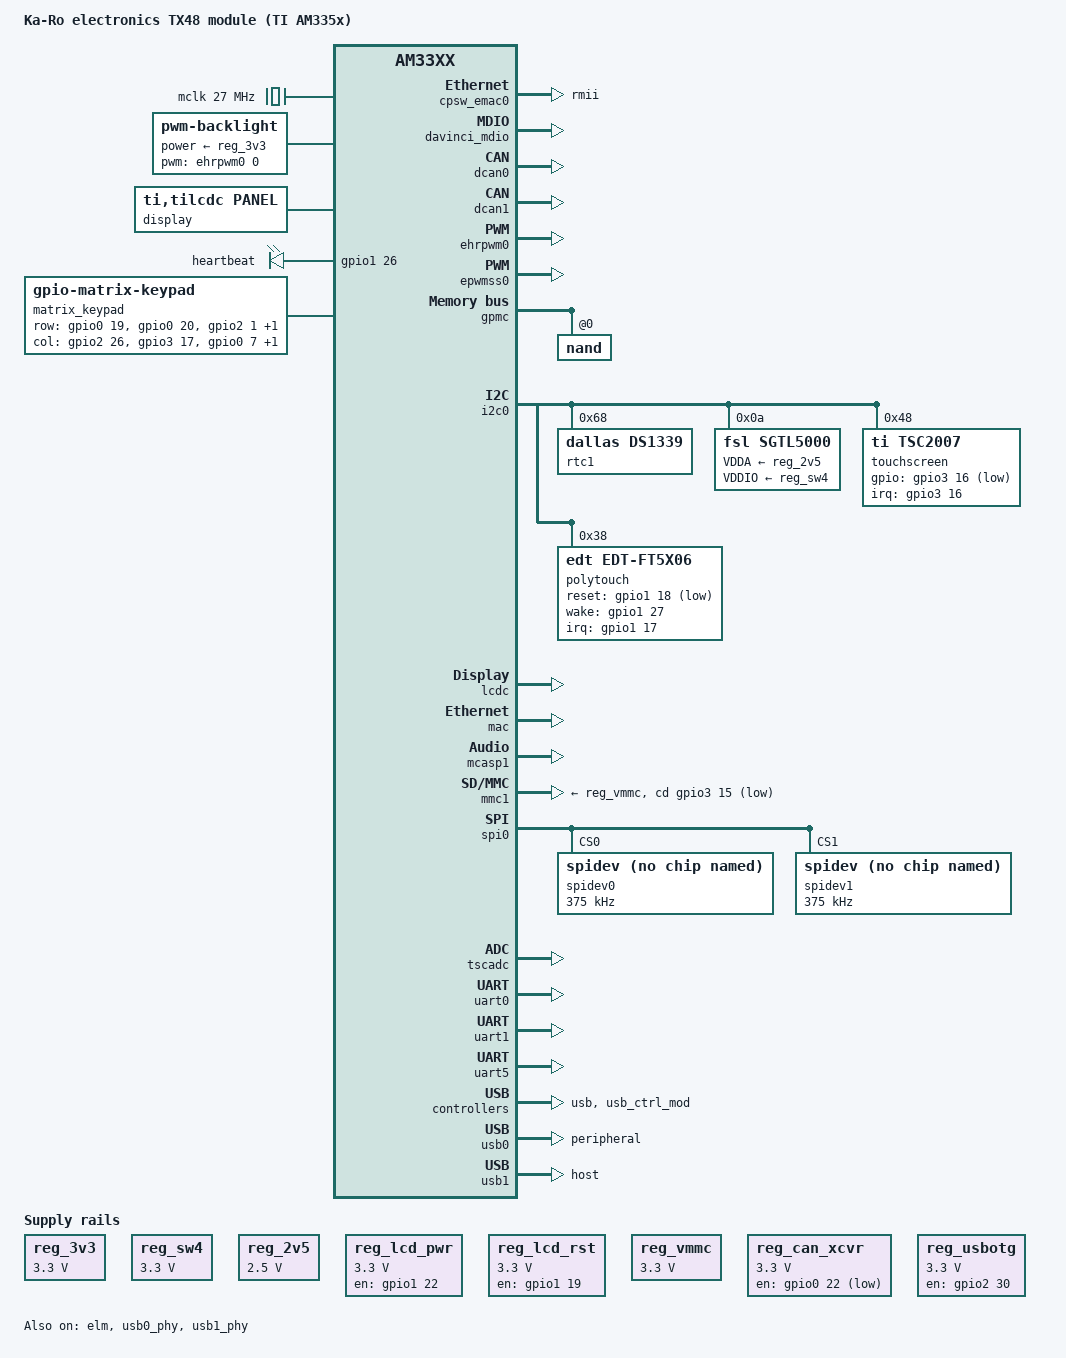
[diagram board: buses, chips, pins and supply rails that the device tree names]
/*
 * Copyright (C) 2013 Ka-Ro electronics GmbH - http://www.karo-electronics.com
 *
 * This program is free software; you can redistribute it and/or modify
 * it under the terms of the GNU General Public License version 2 as
 * published by the Free Software Foundation.
 */
/dts-v1/;

#include "am33xx.dtsi"
#include <dt-bindings/pwm/pwm.h>

/ {
	model = "Ka-Ro electronics TX48 module (TI AM335x)";
	compatible = "karo,am335x-tx48", "ti,am33xx";

	aliases {
		can0 = &dcan0;
		can1 = &dcan1;
		display = &display;
		lcdif_23bit_pins_a = &pinctrl_lcd_23bit;
		lcdif_24bit_pins_a = &pinctrl_lcd_24bit;
		reg_can_xcvr = &reg_can_xcvr;
		usbhost = &usb1;
		usbotg = &usb0;
	};

	cpus {
		cpu@0 {
			cpu0-supply = <&reg_sw2>;
		};
	};

	clocks {
		#address-cells = <1>;
		#size-cells = <0>;

		mclk: clock@0 {
			compatible = "fixed-clock";
			reg = <0>;
			#clock-cells = <0>;
			clock-frequency = <27000000>;
		};
	};

	memory {
		device_type = "memory";
		reg = <0 0>; /* will be set up by bootloader */
	};

	backlight: backlight@0 {
		compatible = "pwm-backlight";
		pwms = <&ehrpwm0 0 500000 PWM_POLARITY_INVERTED>;
		power-supply = <&reg_3v3>;
		/*
		 * a poor man's way to create a 1:1 relationship between
		 * the PWM value and the actual duty cycle
		 */
		brightness-levels = <
			 0  1  2  3  4  5  6  7  8  9
			10 11 12 13 14 15 16 17 18 19
			20 21 22 23 24 25 26 27 28 29
			30 31 32 33 34 35 36 37 38 39
			40 41 42 43 44 45 46 47 48 49
			50 51 52 53 54 55 56 57 58 59
			60 61 62 63 64 65 66 67 68 69
			70 71 72 73 74 75 76 77 78 79
			80 81 82 83 84 85 86 87 88 89
			90 91 92 93 94 95 96 97 98 99
			100
		>;
		default-brightness-level = <50>;
	};

	display: panel {
		compatible = "ti,tilcdc,panel";
		pinctrl-names = "default";
		pinctrl-0 = <&pinctrl_lcd_24bit>;
		status = "okay";

		display-timings {
			VGA {
				clock-frequency = <25200000>;
				hactive = <640>;
				vactive = <480>;
				hback-porch = <48>;
				hsync-len = <96>;
				hfront-porch = <16>;
				vback-porch = <31>;
				vsync-len = <2>;
				vfront-porch = <12>;
				hsync-active = <0>;
				vsync-active = <0>;
				de-active = <1>;
			};

			ETV570 {
				clock-frequency = <25200000>;
				hactive = <640>;
				vactive = <480>;
				hback-porch = <114>;
				hsync-len = <30>;
				hfront-porch = <16>;
				vback-porch = <32>;
				vsync-len = <3>;
				vfront-porch = <10>;
				hsync-active = <0>;
				vsync-active = <0>;
				de-active = <1>;
			};

			ET0350 {
				clock-frequency = <6413760>;
				hactive = <320>;
				vactive = <240>;
				hback-porch = <34>;
				hsync-len = <34>;
				hfront-porch = <20>;
				vback-porch = <15>;
				vsync-len = <3>;
				vfront-porch = <4>;
				hsync-active = <0>;
				vsync-active = <0>;
				de-active = <1>;
			};

			ET0430 {
				clock-frequency = <9009000>;
				hactive = <480>;
				vactive = <272>;
				hback-porch = <2>;
				hsync-len = <41>;
				hfront-porch = <2>;
				vback-porch = <2>;
				vsync-len = <10>;
				vfront-porch = <2>;
				hsync-active = <0>;
				vsync-active = <0>;
				de-active = <1>;
			};

			ET0500 {
				clock-frequency = <33264000>;
				hactive = <800>;
				vactive = <480>;
				hback-porch = <88>;
				hsync-len = <128>;
				hfront-porch = <40>;
				vback-porch = <33>;
				vsync-len = <2>;
				vfront-porch = <10>;
				hsync-active = <0>;
				vsync-active = <0>;
				de-active = <1>;
			};

			ET0700 { /* same as ET0500 */
				clock-frequency = <33264000>;
				hactive = <800>;
				vactive = <480>;
				hback-porch = <88>;
				hsync-len = <128>;
				hfront-porch = <40>;
				vback-porch = <33>;
				vsync-len = <2>;
				vfront-porch = <10>;
				hsync-active = <0>;
				vsync-active = <0>;
				de-active = <1>;
			};

			ETQ570 {
				clock-frequency = <6596040>;
				hactive = <320>;
				vactive = <240>;
				hback-porch = <38>;
				hsync-len = <30>;
				hfront-porch = <30>;
				vback-porch = <16>;
				vsync-len = <3>;
				vfront-porch = <4>;
				hsync-active = <0>;
				vsync-active = <0>;
				de-active = <1>;
			};
		};

		panel-info {
			ac-bias		  = <255>;
			ac-bias-intrpt	  = <0>;
			dma-burst-sz	  = <16>;
			bpp		  = <24>;
			fdd		  = <0x80>;
			sync-edge	  = <1>;
			sync-ctrl	  = <1>;
			raster-order	  = <0>;
			fifo-th		  = <0>;
			invert-pxl-clk;
		};
	};

	leds {
		compatible = "gpio-leds";
		pinctrl-names = "default";
		pinctrl-0 = <&pinctrl_led>;

		heartbeat {
			label = "heartbeat";
			gpios = <&gpio1 26 GPIO_ACTIVE_HIGH>;
			linux,default-trigger = "heartbeat";
		};
	};

	matrix_keypad: matrix_keypad@0 {
		compatible = "gpio-matrix-keypad";
		debounce-delay-ms = <5>;
		col-scan-delay-us = <2>;
		pinctrl-names = "default";
		pinctrl-0 = <&pinctrl_matrix_keypad0>;
		linux,wakeup;

		row-gpios = <
			&gpio0 19 GPIO_ACTIVE_HIGH
			&gpio0 20 GPIO_ACTIVE_HIGH
			&gpio2  1 GPIO_ACTIVE_HIGH
			&gpio2  0 GPIO_ACTIVE_HIGH
		>;

		col-gpios = <
			&gpio2 26 GPIO_ACTIVE_HIGH
			&gpio3 17 GPIO_ACTIVE_HIGH
			&gpio0 7 GPIO_ACTIVE_HIGH
			&gpio1 28 GPIO_ACTIVE_HIGH
		>;

		linux,keymap = <
			0x00000074	/* POWER */
		>;
	};

	regulators {
		compatible = "simple-bus";

		reg_3v3: regulator@0 {
			compatible = "regulator-fixed";
			regulator-name = "vbat";
			regulator-min-microvolt = <3300000>;
			regulator-max-microvolt = <3300000>;
			regulator-boot-on;
		};

		reg_sw1: regulator@1 {
			// VDD_CORE voltage limits 0.95V - 1.1V with +/-4% tolerance
			regulator-name = "vdd_core";
			regulator-min-microvolt = <912000>;
			regulator-max-microvolt = <1144000>;
		};

		reg_sw2: regulator@2 {
			// VDD_MPU voltage limits 0.95V - 1.26V with +/-4% tolerance
			regulator-name = "vdd_mpu";
			regulator-min-microvolt = <912500>;
			regulator-max-microvolt = <1312500>;
		};

		reg_sw4: regulator@3 {
			compatible = "regulator-fixed";
			regulator-name = "3v3";
			regulator-min-microvolt = <3300000>;
			regulator-max-microvolt = <3300000>;
		};

		reg_2v5: regulator@4 {
			compatible = "regulator-fixed";
			regulator-name = "2v5";
			regulator-min-microvolt = <2500000>;
			regulator-max-microvolt = <2500000>;
		};

		reg_lcd_pwr: regulator@5 {
			compatible = "regulator-fixed";
			regulator-name = "LCD power";
			pinctrl-names = "default";
			pinctrl-0 = <&pinctrl_lcd_pwr>;
			regulator-min-microvolt = <3300000>;
			regulator-max-microvolt = <3300000>;
			gpio = <&gpio1 22 GPIO_ACTIVE_HIGH>;
			enable-active-high;
			regulator-boot-on;
		};

		reg_lcd_rst: regulator@6 {
			compatible = "regulator-fixed";
			regulator-name = "LCD reset";
			pinctrl-names = "default";
			pinctrl-0 = <&pinctrl_lcd_rst>;
			regulator-min-microvolt = <3300000>;
			regulator-max-microvolt = <3300000>;
			gpio = <&gpio1 19 GPIO_ACTIVE_HIGH>;
			enable-active-high;
			regulator-boot-on;
		};

		reg_vmmc: regulator@7 {
			compatible = "regulator-fixed";
			regulator-name = "vmmc";
			regulator-min-microvolt = <3300000>;
			regulator-max-microvolt = <3300000>;
		};

		reg_can_xcvr: regulator@8 {
			compatible = "regulator-fixed";
			regulator-name = "can-xcvr";
			pinctrl-names = "default";
			pinctrl-0 = <&pinctrl_can_xcvr>;
			regulator-min-microvolt = <3300000>;
			regulator-max-microvolt = <3300000>;
			gpio = <&gpio0 22 GPIO_ACTIVE_LOW>;
		};

		reg_usbotg: regulator@9 {
			compatible = "regulator-fixed";
			regulator-name = "usbotg-vbus";
			regulator-min-microvolt = <3300000>;
			regulator-max-microvolt = <3300000>;
			pinctrl-names = "default";
			pinctrl-0 = <&pinctrl_reg_usbotg>;
			gpio = <&gpio2 30 GPIO_ACTIVE_HIGH>;
			enable-active-high;
		};
	};

	sound {
		compatible = "ti,am335x-tx48-audio";
		ti,model = "TX48-SGTL5000";
		ti,audio-codec = <&sgtl5000>;
		ti,mcasp-controller = <&mcasp1>;
		ti,codec-clock-rate = <27000000>;
	};
};

&am33xx_pinmux {
	cpsw_default: cpsw_default {
		pinctrl-single,pins = <
			/* Slave 1 */
			0x10c (PIN_INPUT_PULLDOWN | MUX_MODE1)	/* mii1_crs.rmii1_crs_dv */
			0x110 (PIN_INPUT_PULLDOWN | MUX_MODE1)	/* mii1_rxerr.rmii1_rxerr */
			0x114 (PIN_OUTPUT_PULLDOWN | MUX_MODE1)	/* mii1_txen.rmii1_txen */
			0x124 (PIN_OUTPUT_PULLDOWN | MUX_MODE1)	/* mii1_txd1.rmii1_txd1 */
			0x128 (PIN_OUTPUT_PULLDOWN | MUX_MODE1)	/* mii1_txd0.rmii1_txd0 */
			0x13c (PIN_INPUT_PULLDOWN | MUX_MODE1)	/* mii1_rxd1.rmii1_rxd1 */
			0x140 (PIN_INPUT_PULLDOWN | MUX_MODE1)	/* mii1_rxd0.rmii1_rxd0 */
			0x144 (PIN_INPUT | SLEWCTRL_FAST | MUX_MODE0)	/* rmii1_ref_clk.rmii1_refclk */
			0x1e4 (PIN_INPUT_PULLUP | MUX_MODE7)	/* emu0.gpio3_7 */
			0x1e8 (PIN_OUTPUT_PULLDOWN | MUX_MODE7)	/* emu1.gpio3_8 */
		>;
	};

	cpsw_sleep: cpsw_sleep {
		pinctrl-single,pins = <
			/* Slave 1 reset value */
			0x10c (PIN_INPUT_PULLDOWN | MUX_MODE7)
			0x110 (PIN_INPUT_PULLDOWN | MUX_MODE7)
			0x114 (PIN_INPUT_PULLDOWN | MUX_MODE7)
			0x120 (PIN_INPUT_PULLDOWN | MUX_MODE7)
			0x124 (PIN_INPUT_PULLDOWN | MUX_MODE7)
			0x128 (PIN_INPUT_PULLDOWN | MUX_MODE7)
			0x13c (PIN_INPUT_PULLDOWN | MUX_MODE7)
			0x140 (PIN_INPUT_PULLDOWN | MUX_MODE7)
			0x144 (PIN_INPUT_PULLDOWN | MUX_MODE7)
			0x1e4 (PIN_INPUT_PULLDOWN | MUX_MODE7)
			0x1e8 (PIN_INPUT_PULLDOWN | MUX_MODE7)
		>;
	};

	davinci_mdio_default: davinci_mdio_default {
		pinctrl-single,pins = <
			/* MDIO */
			0x148 (PIN_INPUT_PULLUP | SLEWCTRL_FAST | MUX_MODE0)	/* mdio_data.mdio_data */
			0x14c (PIN_OUTPUT_PULLUP | MUX_MODE0)			/* mdio_clk.mdio_clk */
		>;
	};

	davinci_mdio_sleep: davinci_mdio_sleep {
		pinctrl-single,pins = <
			/* MDIO reset value */
			0x148 (PIN_INPUT_PULLDOWN | MUX_MODE7)
			0x14c (PIN_INPUT_PULLDOWN | MUX_MODE7)
		>;
	};

	pinctrl_can_xcvr: can-xcvr-grp {
		pinctrl-single,pins = <
			0x20 (PIN_OUTPUT_PULLDOWN | MUX_MODE7)	/* gpmc_ad8.gpio0_22	CAN Transceiver Enable */
		>;
	};

	pinctrl_cspi0: cspi0grp-1 {
		pinctrl-single,pins = <
			0x15c (PIN_OUTPUT_PULLUP | MUX_MODE0)	/* spi0_cs0.spi0_cs0	CSPI_SS */
			0x160 (PIN_OUTPUT_PULLUP | MUX_MODE0)	/* spi0_cs1.spi0_cs1	CSPI_SS*/
			0x154 (PIN_OUTPUT | MUX_MODE0)		/* spi0_d0.spi0_d0	CSPI_MOSI*/
			0x158 (PIN_INPUT_PULLUP | MUX_MODE0)	/* spi0_d1.spi0_d1	CSPI_MISO*/
			0x150 (PIN_INPUT_PULLDOWN | MUX_MODE0)	/* spi0_sclk.spi0_sclk	CSPI_SCLK */
		>;
	};

	pinctrl_dcan0: dcan0grp-1 {
		pinctrl-single,pins = <
			0x11c (PIN_OUTPUT_PULLDOWN | MUX_MODE1)	/* mii1_txd3.dcan0_tx	TXCAN */
			0x120 (PIN_INPUT_PULLDOWN | MUX_MODE1)	/* mii1_txd2.dcan0_rx	RXCAN */
		>;
	};

	pinctrl_dcan1: dcan1grp-1 { // USB-OTG / 2nd CAN
		pinctrl-single,pins = <
			0x100 (PIN_INPUT_PULLDOWN | MUX_MODE4)	/* mmc0_clk.dcan1_tx	USBOTG_VBUSEN */
			0x104 (PIN_INPUT_PULLUP | MUX_MODE4)	/* mmc0_cmd.dcan1_rx	#USBOTG_OC */
		>;
	};

	pinctrl_gpmc_1: gpmcgrp-1 {
		pinctrl-single,pins = <
			0x00 (PIN_INPUT_PULLUP | MUX_MODE0)	/* gpmc_ad0.gpmc_ad0 */
			0x04 (PIN_INPUT_PULLUP | MUX_MODE0)	/* gpmc_ad1.gpmc_ad1 */
			0x08 (PIN_INPUT_PULLUP | MUX_MODE0)	/* gpmc_ad2.gpmc_ad2 */
			0x0c (PIN_INPUT_PULLUP | MUX_MODE0)	/* gpmc_ad3.gpmc_ad3 */
			0x10 (PIN_INPUT_PULLUP | MUX_MODE0)	/* gpmc_ad4.gpmc_ad4 */
			0x14 (PIN_INPUT_PULLUP | MUX_MODE0)	/* gpmc_ad5.gpmc_ad5 */
			0x18 (PIN_INPUT_PULLUP | MUX_MODE0)	/* gpmc_ad6.gpmc_ad6 */
			0x1c (PIN_INPUT_PULLUP | MUX_MODE0)	/* gpmc_ad7.gpmc_ad7 */
			0x9c (PIN_OUTPUT_PULLUP | MUX_MODE0)	/* gpmc_ben0_cle.gpmc_ben0_cle */
			0x90 (PIN_OUTPUT_PULLUP | MUX_MODE0)	/* gpmc_advn_ale.gpmc_advn_ale */
			0x7c (PIN_OUTPUT_PULLUP | MUX_MODE0)	/* gpmc_csn0.gpmc_csn0 */
			0x94 (PIN_OUTPUT_PULLUP | MUX_MODE0)	/* gpmc_oe_re.gpmc_oe_re */
			0x98 (PIN_OUTPUT_PULLUP | MUX_MODE0)	/* gpmc_wen.gpmc_wen */
			0x74 (PIN_OUTPUT_PULLUP | MUX_MODE0)	/* gpmc_wpn.gpmc_wpn */
			0x70 (PIN_INPUT_PULLUP | MUX_MODE0)	/* gpmc_wait0.gpmc_wait0 */
		>;
	};

	pinctrl_i2c0_1: i2c0grp-1 {
		pinctrl-single,pins = <
			0x188 (PIN_INPUT_PULLUP | SLEWCTRL_FAST | MUX_MODE0) /* i2c0_sda.i2c0_sda I2C_DATA */
			0x18c (PIN_INPUT_PULLUP | SLEWCTRL_FAST | MUX_MODE0) /* i2c0_scl.i2c0_scl I2C_CLK */
		>;
	};

	pinctrl_lcd_pwr: lcdpwrgrp {
		pinctrl-single,pins = <
			0x58 (PIN_OUTPUT | MUX_MODE7)		/* gpmc_a6.gpio1_22 */
		>;
	};

	pinctrl_lcd_rst: lcdrstgrp {
		pinctrl-single,pins = <
			0x4c (PIN_OUTPUT | MUX_MODE7)		/* gpmc_a3.gpio1_19 */
		>;
	};

	pinctrl_lcd_23bit: lcd0grp1 {
		pinctrl-single,pins = <
			0x2c (PIN_OUTPUT_PULLDOWN | MUX_MODE1)	/* gpmc_ad11.lcd_data20		LD1 */
			0x38 (PIN_OUTPUT_PULLDOWN | MUX_MODE1)	/* gpmc_ad14.lcd_data17		LD2 */
			0xcc (PIN_OUTPUT_PULLDOWN | MUX_MODE0)	/* lcd_data11.lcd_data11	LD3 */
			0xd0 (PIN_OUTPUT_PULLDOWN | MUX_MODE0)	/* lcd_data12.lcd_data12	LD4 */
			0xd4 (PIN_OUTPUT_PULLDOWN | MUX_MODE0)	/* lcd_data13.lcd_data13	LD5 */
			0xd8 (PIN_OUTPUT_PULLDOWN | MUX_MODE0)	/* lcd_data14.lcd_data14	LD6 */
			0xdc (PIN_OUTPUT_PULLDOWN | MUX_MODE0)	/* lcd_data15.lcd_data15	LD7 */
			0x24 (PIN_OUTPUT_PULLDOWN | MUX_MODE1)	/* gpmc_ad.lcd_data22		LD8 */
			0x30 (PIN_OUTPUT_PULLDOWN | MUX_MODE1)	/* gpmc_ad.lcd_data19		LD9 */
			0xb4 (PIN_OUTPUT_PULLDOWN | MUX_MODE0)	/* lcd_data5.lcd_data5		LD10 */
			0xb8 (PIN_OUTPUT_PULLDOWN | MUX_MODE0)	/* lcd_data6.lcd_data6		LD11 */
			0xbc (PIN_OUTPUT_PULLDOWN | MUX_MODE0)	/* lcd_data7.lcd_data7		LD12 */
			0xc0 (PIN_OUTPUT_PULLDOWN | MUX_MODE0)	/* lcd_data8.lcd_data8		LD13 */
			0xc4 (PIN_OUTPUT_PULLDOWN | MUX_MODE0)	/* lcd_data9.lcd_data9		LD14 */
			0xc8 (PIN_OUTPUT_PULLDOWN | MUX_MODE0)	/* lcd_data10.lcd_data10	LD15 */
			0x28 (PIN_OUTPUT_PULLDOWN | MUX_MODE1)	/* gpmc_ad10.lcd_data21		LD16 */
			0x34 (PIN_OUTPUT_PULLDOWN | MUX_MODE1)	/* gpmc_ad13.lcd_data18		LD17 */
			0x3c (PIN_OUTPUT_PULLDOWN | MUX_MODE1)	/* gpmc_ad15.lcd_data16		LD18 */
			0xa0 (PIN_OUTPUT_PULLDOWN | MUX_MODE0)	/* lcd_data0.lcd_data0		LD19 */
			0xa4 (PIN_OUTPUT_PULLDOWN | MUX_MODE0)	/* lcd_data1.lcd_data1		LD20 */
			0xa8 (PIN_OUTPUT_PULLDOWN | MUX_MODE0)	/* lcd_data2.lcd_data2		LD21 */
			0xac (PIN_OUTPUT_PULLDOWN | MUX_MODE0)	/* lcd_data3.lcd_data3		LD22 */
			0xb0 (PIN_OUTPUT_PULLDOWN | MUX_MODE0)	/* lcd_data4.lcd_data4		LD23 */
			0xe4 (PIN_OUTPUT_PULLDOWN | MUX_MODE0)	/* lcd_hsync.lcd_hsync		HSYNC */
			0xe0 (PIN_OUTPUT_PULLDOWN | MUX_MODE0)	/* lcd_vsync.lcd_vsync		VSYNC */
			0xec (PIN_OUTPUT_PULLDOWN | MUX_MODE0)	/* lcd_ac_bias_en.lcd_ac_bias_en OE_ACD */
			0xe8 (PIN_OUTPUT_PULLDOWN | MUX_MODE0)	/* lcd_pclk.lcd_pclk		LSCLK */
		>;
	};

	pinctrl_lcd_24bit: lcd0grp2 {
		pinctrl-single,pins = <
			0x20 (PIN_OUTPUT_PULLDOWN | MUX_MODE1)	/* gpmc_ad8.lcd_data23		LD0 */
			0x2c (PIN_OUTPUT_PULLDOWN | MUX_MODE1)	/* gpmc_ad11.lcd_data20		LD1 */
			0x38 (PIN_OUTPUT_PULLDOWN | MUX_MODE1)	/* gpmc_ad14.lcd_data17		LD2 */
			0xcc (PIN_OUTPUT_PULLDOWN | MUX_MODE0)	/* lcd_data11.lcd_data11	LD3 */
			0xd0 (PIN_OUTPUT_PULLDOWN | MUX_MODE0)	/* lcd_data12.lcd_data12	LD4 */
			0xd4 (PIN_OUTPUT_PULLDOWN | MUX_MODE0)	/* lcd_data13.lcd_data13	LD5 */
			0xd8 (PIN_OUTPUT_PULLDOWN | MUX_MODE0)	/* lcd_data14.lcd_data14	LD6 */
			0xdc (PIN_OUTPUT_PULLDOWN | MUX_MODE0)	/* lcd_data15.lcd_data15	LD7 */
			0x24 (PIN_OUTPUT_PULLDOWN | MUX_MODE1)	/* gpmc_ad.lcd_data22		LD8 */
			0x30 (PIN_OUTPUT_PULLDOWN | MUX_MODE1)	/* gpmc_ad.lcd_data19		LD9 */
			0xb4 (PIN_OUTPUT_PULLDOWN | MUX_MODE0)	/* lcd_data5.lcd_data5		LD10 */
			0xb8 (PIN_OUTPUT_PULLDOWN | MUX_MODE0)	/* lcd_data6.lcd_data6		LD11 */
			0xbc (PIN_OUTPUT_PULLDOWN | MUX_MODE0)	/* lcd_data7.lcd_data7		LD12 */
			0xc0 (PIN_OUTPUT_PULLDOWN | MUX_MODE0)	/* lcd_data8.lcd_data8		LD13 */
			0xc4 (PIN_OUTPUT_PULLDOWN | MUX_MODE0)	/* lcd_data9.lcd_data9		LD14 */
			0xc8 (PIN_OUTPUT_PULLDOWN | MUX_MODE0)	/* lcd_data10.lcd_data10	LD15 */
			0x28 (PIN_OUTPUT_PULLDOWN | MUX_MODE1)	/* gpmc_ad10.lcd_data21		LD16 */
			0x34 (PIN_OUTPUT_PULLDOWN | MUX_MODE1)	/* gpmc_ad13.lcd_data18		LD17 */
			0x3c (PIN_OUTPUT_PULLDOWN | MUX_MODE1)	/* gpmc_ad15.lcd_data16		LD18 */
			0xa0 (PIN_OUTPUT_PULLDOWN | MUX_MODE0)	/* lcd_data0.lcd_data0		LD19 */
			0xa4 (PIN_OUTPUT_PULLDOWN | MUX_MODE0)	/* lcd_data1.lcd_data1		LD20 */
			0xa8 (PIN_OUTPUT_PULLDOWN | MUX_MODE0)	/* lcd_data2.lcd_data2		LD21 */
			0xac (PIN_OUTPUT_PULLDOWN | MUX_MODE0)	/* lcd_data3.lcd_data3		LD22 */
			0xb0 (PIN_OUTPUT_PULLDOWN | MUX_MODE0)	/* lcd_data4.lcd_data4		LD23 */
			0xe4 (PIN_OUTPUT_PULLDOWN | MUX_MODE0)	/* lcd_hsync.lcd_hsync		HSYNC */
			0xe0 (PIN_OUTPUT_PULLDOWN | MUX_MODE0)	/* lcd_vsync.lcd_vsync		VSYNC */
			0xec (PIN_OUTPUT_PULLDOWN | MUX_MODE0)	/* lcd_ac_bias_en.lcd_ac_bias_en OE_ACD */
			0xe8 (PIN_OUTPUT_PULLDOWN | MUX_MODE0)	/* lcd_pclk.lcd_pclk		LSCLK */
		>;
	};

	pinctrl_led: ledgrp {
		pinctrl-single,pins = <
			0x68 (PIN_OUTPUT_PULLDOWN | MUX_MODE7)	/* gpmc_a10.gpio1_26 */
		>;
	};

	pinctrl_matrix_keypad0: matrix-keypad0 {
		pinctrl-single,pins = <
			0xf0 (PIN_OUTPUT_PULLUP | MUX_MODE7)	/* mmc0_dat3.gpio2_26		KP_COL0 */
			0x19c (PIN_OUTPUT_PULLUP | MUX_MODE7)	/* mcasp0_ahclkr.gpio3_17	KP_COL1 */
			0x164 (PIN_OUTPUT_PULLUP | MUX_MODE7)	/* ecap0_in_pwm0_out.gpio0_7	KP_COL2 */
			0x78 (PIN_OUTPUT_PULLUP | MUX_MODE7)	/* gpmc_ben1.gpio1_28		KP_COL3 */
			0x1b0 (PIN_INPUT_PULLDOWN | MUX_MODE7)	/* xdma_event_intr0.gpio0_19	KP_ROW0 */
			0x1b4 (PIN_INPUT_PULLDOWN | MUX_MODE7)	/* xdma_event_intr1.gpio0_20	KP_ROW1 */
			0x8c (PIN_INPUT_PULLDOWN | MUX_MODE7)	/* gpmc_clk.gpio2_1		KP_ROW2 */
			0x88 (PIN_INPUT_PULLDOWN | MUX_MODE7)	/* gpmc_csn3.gpio2_0		KP_ROW3 */
		>;
	};

	pinctrl_mmc1: mmc1grp-1 {
		pinctrl-single,pins = <
			0x194 (PIN_INPUT_PULLUP | MUX_MODE7)	/* mcasp0_fsx.gpio3_15		SD1_CD */
			0x12c (PIN_INPUT_PULLUP | MUX_MODE4)	/* mii1_tx_clk.mmc1_dat0	SD1_DAT0 */
			0x130 (PIN_INPUT_PULLUP | MUX_MODE4)	/* mii1_rx_clk.mmc1_dat1	SD1_DAT1 */
			0x134 (PIN_INPUT_PULLUP | MUX_MODE4)	/* mii1_rxd3.mmc1_dat2		SD1_DAT2 */
			0x138 (PIN_INPUT_PULLUP | MUX_MODE4)	/* mii1_rxd2.mmc1_dat3		SD1_DAT3 */
			0x84 (PIN_INPUT_PULLUP | MUX_MODE2)	/* gpmc_cs2.mmc1_cmd		SD1_CMD */
			0x80 (PIN_INPUT_PULLUP | MUX_MODE2)	/* gpmc_cs1.mmc1_clk		SD1_CLK */
		>;
	};

	pinctrl_ow0: ow0grp-1 {
		pinctrl-single,pins = <
			0xf4 (PIN_INPUT_PULLUP | MUX_MODE7)	/* mmc0_dat2.gpio2_27		OWDAT */
		>;
	};

	pinctrl_pwm0: pwm0grp-11 {
		pinctrl-single,pins = <
			0x190 (PIN_OUTPUT_PULLUP | MUX_MODE1)	/* mcasp0_aclkx.ehrpwm0a	PWM */
		>;
	};

	pinctrl_reg_usbotg: reg-usbotggrp-1 {
		pinctrl-single,pins = <
			0x100 (PIN_OUTPUT | MUX_MODE7)		/* mmc0_clk.gpio2_30		USBOTG_VBUSEN */
			0x104 (PIN_INPUT_PULLUP | MUX_MODE7)	/* mmc0_cmd.gpio2_31		#USBOTG_OC */
		>;
	};

	pinctrl_ssi_1: ssi1grp-1 {
		pinctrl-single,pins = <
			0x1a8 (PIN_INPUT_PULLUP | MUX_MODE3)	/* mcasp0_axr1.mcasp1_axr0	SSI1_RXD */
			0x1ac (PIN_OUTPUT | MUX_MODE3)		/* mcasp0_ahclkx.mcasp1_axr1	SSI1_TXD */
			0x1a0 (PIN_INPUT_PULLUP | MUX_MODE3)	/* mcasp0_aclkr.mcasp1_aclkx	SSI1_CLK */
			0x1a4 (PIN_INPUT_PULLUP | MUX_MODE3)	/* mcasp0_fsr.mcasp1_fsx	SSI1_FS */
		>;
	};

	pinctrl_tsc2007: tsc2007grp-1 {
		pinctrl-single,pins = <
			0x198 (PIN_INPUT_PULLUP | MUX_MODE7) /* mcasp0_axr0.gpio3_16		SSI1_INT */
		>;
	};

	pinctrl_uart0_1: uart0grp-1 {
		pinctrl-single,pins = <
			0x174 (PIN_OUTPUT_PULLDOWN | MUX_MODE0)	/* uart0_txd.uart0_txd		TXD */
			0x170 (PIN_INPUT_PULLUP | MUX_MODE0)	/* uart0_rxd.uart0_rxd		RXD */
			0x168 (PIN_INPUT_PULLUP | MUX_MODE0)	/* uart0_ctsn.uart0_ctsn	RTS/CTS IN */
			0x16c (PIN_OUTPUT_PULLDOWN | MUX_MODE0)	/* uart0_rtsn.uart0_rtsn	CTS/RTS OUT */
		>;
	};

	pinctrl_uart1_1: uart1grp-1 {
		pinctrl-single,pins = <
			0x184 (PIN_OUTPUT_PULLDOWN | MUX_MODE0)	/* uart1_txd.uart1_txd		TXD */
			0x180 (PIN_INPUT_PULLUP | MUX_MODE0)	/* uart1_rxd.uart1_rxd		RXD */
			0x178 (PIN_INPUT_PULLUP | MUX_MODE0)	/* uart1_ctsn.uart1_ctsn	RTS/CTS IN */
			0x17c (PIN_OUTPUT_PULLDOWN | MUX_MODE0)	/* uart1_rtsn.uart1_rtsn	CTS/RTS OUT */
		>;
	};

	pinctrl_uart5_1: uart5grp-1 {
		pinctrl-single,pins = <
			0x118 (PIN_OUTPUT_PULLDOWN | MUX_MODE3)	/* mii1_rxdv.uart5_txd		TXD */
			0x108 (PIN_INPUT_PULLUP | MUX_MODE3)	/* mii1_col.uart5_rxd		RXD */
			0xf8 (PIN_INPUT_PULLUP | MUX_MODE2)	/* mmc0_dat1.uart5_ctsn		RTS/CTS IN */
			0xfc (PIN_OUTPUT_PULLDOWN | MUX_MODE2)	/* mmc0_dat0.uart5_rtsn		CTS/RTS OUT */
		>;
	};

	pinctrl_usbhost: usbhostgrp-1 {
		pinctrl-single,pins = <
			0x234 (PIN_OUTPUT_PULLDOWN | MUX_MODE0)	/* usb1_drvvbus.usb1_drvvbus	USBH_VBUSEN */
			0x21c (PIN_INPUT_PULLUP | MUX_MODE7)	/* usb0_drvvbus.gpio0_18	#USBH_OC */
		>;
	};
};

&cppi41dma {
	status = "okay";
};

&cpsw_emac0 {
	phy_id = <&davinci_mdio>, <0>;
	phy-mode = "rmii";
};

&cpsw_emac1 {
	phy_id = <&davinci_mdio>, <1>;
	phy-mode = "rmii";
	status = "disabled";
};

&davinci_mdio {
	pinctrl-names = "default", "sleep";
	pinctrl-0 = <&davinci_mdio_default>;
	pinctrl-1 = <&davinci_mdio_sleep>;
	status = "okay";
};

&dcan0 {
	pinctrl-names = "default";
	pinctrl-0 = <&pinctrl_dcan0>;
	status = "okay";
};

&dcan1 {
	pinctrl-names = "default";
	pinctrl-0 = <&pinctrl_dcan1>;
	status = "okay";
};

&ehrpwm0 {
	pinctrl-names = "default";
	pinctrl-0 = <&pinctrl_pwm0>;
	status = "okay";
};

&elm {
	status = "okay";
};

&epwmss0 {
	status = "okay";
};

&gpio0 {
	ti,gpio-always-on;
};

&gpio1 {
	ti,gpio-always-on;
};

&gpio2 {
	ti,gpio-always-on;
};

&gpio3 {
	ti,gpio-always-on;
};

&gpmc {
	pinctrl-names = "default";
	pinctrl-0 = <&pinctrl_gpmc_1>;
	ranges = <0 0 0x08000000 0x10000000>;	/* CS0: NAND */
	status = "okay";

	nand@0 {
		reg = <0 0 0>;
		nand-bus-width = <8>;
		nand-on-flash-bbt;
		elm_id = <&elm>;
		ti,nand-ecc-opt = "bch8";

		gpmc,device-nand = "true";
		gpmc,device-width = <1>;
		gpmc,sync-clk-ps = <0>;
		gpmc,cs-on-ns = <0>;
		gpmc,cs-rd-off-ns = <20>;
		gpmc,cs-wr-off-ns = <25>;
		gpmc,adv-on-ns = <0>;
		gpmc,adv-rd-off-ns = <0>;
		gpmc,adv-wr-off-ns = <0>;
		gpmc,we-off-ns = <20>;
		gpmc,oe-off-ns = <25>;
		gpmc,access-ns = <25>;
		gpmc,rd-cycle-ns = <30>;
		gpmc,wr-cycle-ns = <30>;
		gpmc,wr-access-ns = <15>;
		gpmc,wr-data-mux-bus-ns = <0>;
		gpmc,bus-turnaround-ns = <100>;
		gpmc,cycle2cycle-delay-ns = <100>;
		gpmc,clk-activation-ns = <0>;
		gpmc,wait-monitoring-ns = <0>;
		gpmc,wait-on-read = "true";
		gpmc,wait-on-write = "true";

		#address-cells = <1>;
		#size-cells = <1>;

		/* partitions will be filled in by U-Boot */
	};
};

&i2c0 {
	pinctrl-names = "default";
	pinctrl-0 = <&pinctrl_i2c0_1>;
	status = "okay";

	rtc1: ds1339@68 {
		compatible = "dallas,ds1339";
		reg = <0x68>;
	};
/*
	pmic: lt3589@34 {
		compatible = "lt,lt3589";
		reg = <0x34>;
	};
*/
	sgtl5000: sgtl5000@0a {
		compatible = "fsl,sgtl5000";
		reg = <0x0a>;
		VDDA-supply = <&reg_2v5>;
		VDDIO-supply = <&reg_sw4>;
		clocks = <&mclk>;
	};

	touchscreen: tsc2007@48 {
		compatible = "ti,tsc2007";
		reg = <0x48>;
		interrupt-parent = <&gpio3>;
		interrupts = <16 2>;
		pinctrl-names = "default";
		pinctrl-0 = <&pinctrl_tsc2007>;
		gpios = <&gpio3 16 GPIO_ACTIVE_LOW>;
		ti,x-plate-ohms = <660>;
	};

	polytouch: edt-ft5x06@38 {
		compatible = "edt,edt-ft5x06";
		reg = <0x38>;
		interrupt-parent = <&gpio1>;
		interrupts = <17 2>;
		reset-gpios = <&gpio1 18 GPIO_ACTIVE_LOW>;
		wake-gpios = <&gpio1 27 GPIO_ACTIVE_HIGH>;
	};
};

&lcdc {
	status = "okay";
};

&mac {
	pinctrl-names = "default", "sleep";
	pinctrl-0 = <&cpsw_default>;
	pinctrl-1 = <&cpsw_sleep>;
	status = "okay";
};

&mcasp1 {
	pinctrl-names = "default";
	pinctrl-0 = <&pinctrl_ssi_1>;
	op-mode = <0>;          /* MCASP_IIS_MODE */
	tdm-slots = <2>;
	serial-dir = <2 1 0 0>; /* 0: INACTIVE, 1: TX, 2: RX */
	tx-num-evt = <32>;
	rx-num-evt = <32>;
	status = "okay";
};

&mmc1 {
	pinctrl-names = "default";
	pinctrl-0 = <&pinctrl_mmc1>;
	cd-gpios = <&gpio3 15 GPIO_ACTIVE_LOW>;
	vmmc-supply = <&reg_vmmc>;
	status = "okay";
};

&phy_sel {
	rmii-clock-ext;
};

&spi0 {
	pinctrl-names = "default";
	pinctrl-0 = <&pinctrl_cspi0>;
	ti,spi-num-cs = <2>;
	ti,pindir-d0-out-d1-in;
	status = "okay";

	spidev0: spi@0 {
		compatible = "spidev";
		reg = <0>;
		spi-max-frequency = <375000>;
	};

	spidev1: spi@1 {
		compatible = "spidev";
		reg = <1>;
		spi-max-frequency = <375000>;
	};
};

&tscadc {
	status = "okay";

	tsc {
		ti,wires = <4>;
		ti,x-plate-resistance = <200>;
		ti,coordinate-readouts = <5>;
		ti,wire-config = <0x01 0x10 0x23 0x32>;
	};

	adc {
		ti,adc-channels = <4 5 6 7>;
	};
};

&uart0 {
	pinctrl-names = "default";
	pinctrl-0 = <&pinctrl_uart0_1>;
	status = "okay";
};

&uart1 {
	pinctrl-names = "default";
	pinctrl-0 = <&pinctrl_uart1_1>;
	status = "okay";
};

&uart5 {
	pinctrl-names = "default";
	pinctrl-0 = <&pinctrl_uart5_1>;
	status = "okay";
};

&usb {
	status = "okay";
};

&usb_ctrl_mod {
	status = "okay";
};

&usb0 {
	dr_mode = "peripheral";
	status = "okay";
};

&usb0_phy {
	vcc-supply = <&reg_usbotg>;
	status = "okay";
};

&usb1 {
	dr_mode = "host";
	status = "okay";
};

&usb1_phy {
	pinctrl-names = "default";
	pinctrl-0 = <&pinctrl_usbhost>;
	status = "okay";
};
